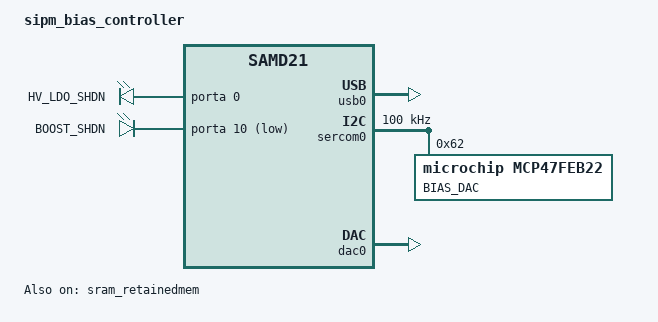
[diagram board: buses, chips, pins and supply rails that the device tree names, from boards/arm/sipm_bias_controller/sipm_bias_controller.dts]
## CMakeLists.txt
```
# SPDX-License-Identifier: Apache-2.0
# SiPM Bias Controller firmware (Zephyr)
# Board: sipm_bias_controller (ATSAMD21E18A-AF)

cmake_minimum_required(VERSION 3.20.0)

list(APPEND BOARD_ROOT ${CMAKE_CURRENT_SOURCE_DIR})

find_package(Zephyr REQUIRED HINTS $ENV{ZEPHYR_BASE})
project(sipm_bias_controller)

target_sources(app PRIVATE
  src/main.c
  src/bias.c
  src/mcp47feb22.c
)

target_include_directories(app PRIVATE include)
```

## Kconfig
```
# SPDX-License-Identifier: Apache-2.0

mainmenu "SiPM Bias Controller"

choice
	prompt "LT836X boost converter variant"
	default BIAS_LT8361
	help
	  Selects feedback network constants and voltage range for the
	  on-board boost converter.

config BIAS_LT8361
	bool "LT8361 (100 V rated, R6=39k)"

config BIAS_LT8362
	bool "LT8362 (60 V rated, R6=52.3k)"

endchoice
```

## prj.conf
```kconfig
CONFIG_NEWLIB_LIBC=y
CONFIG_BUILD_OUTPUT_HEX=y

CONFIG_GPIO=y
CONFIG_I2C=y
CONFIG_DAC=y

CONFIG_LOG=y
CONFIG_LOG_PRINTK=n
CONFIG_LOG_CMDS=y
CONFIG_LOG_RUNTIME_FILTERING=y

CONFIG_SERIAL=y
CONFIG_CONSOLE=y
CONFIG_UART_CONSOLE=y
CONFIG_UART_LINE_CTRL=y

CONFIG_SHELL=y
CONFIG_SHELL_PROMPT_UART=""
CONFIG_REBOOT=y
CONFIG_USB_DEVICE_STACK=y
CONFIG_USB_CDC_ACM=y
CONFIG_USB_DEVICE_MANUFACTURER="Applikate"
CONFIG_USB_DEVICE_PRODUCT="SiPM Bias Controller"
CONFIG_USB_DEVICE_INITIALIZE_AT_BOOT=y
CONFIG_SHELL_BACKEND_SERIAL=y
CONFIG_SHELL_BACKEND_RTT=n

CONFIG_RTT_CONSOLE=n
CONFIG_USE_SEGGER_RTT=n

# Retention boot mode (reboot into DFU)
CONFIG_RETAINED_MEM=y
CONFIG_RETENTION=y
CONFIG_RETENTION_BOOT_MODE=y

# MCUboot app-side support
CONFIG_FLASH=y
CONFIG_FLASH_MAP=y
CONFIG_FLASH_PAGE_LAYOUT=y
CONFIG_IMG_MANAGER=y
CONFIG_MCUBOOT_IMG_MANAGER=y
CONFIG_STREAM_FLASH=y

# Persistent calibration storage
CONFIG_NVS=y
CONFIG_SETTINGS=y
CONFIG_SETTINGS_NVS=y

# Boost converter variant (override in board defconfig or via menuconfig)
CONFIG_BIAS_LT8361=y

# Larger main stack for shell command handlers
CONFIG_MAIN_STACK_SIZE=2048
```

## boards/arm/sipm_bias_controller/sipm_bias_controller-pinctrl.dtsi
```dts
/*
 * SPDX-License-Identifier: Apache-2.0
 * SiPM Bias Controller pinctrl: SERCOM0 I2C, USB.
 */

#include <dt-bindings/pinctrl/samd21-da1gXabcd-pinctrl.h>

&pinctrl {
	sercom0_i2c_default: sercom0_i2c_default {
		group1 {
			pinmux = <PA8C_SERCOM0_PAD0>,
				 <PA9C_SERCOM0_PAD1>;
		};
	};

	usb_dc_default: usb_dc_default {
		group1 {
			pinmux = <PA25G_USB_DP>,
				 <PA24G_USB_DM>;
		};
	};
};
```

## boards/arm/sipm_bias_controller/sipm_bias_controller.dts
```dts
/*
 * SPDX-License-Identifier: Apache-2.0
 * SiPM Bias Controller board (ATSAMD21E18A-AF).
 *
 * Pinout (verified against bias_generator_LT8362.kicad_sch):
 *   PA00 = LDO_SHDN (HV LDO shutdown, active-high disables)
 *   PA02 = Boost_Gain (DAC0 -> LT836X feedback)
 *   PA08 = SDA (SERCOM0 PAD0, to MCP47FEB22)
 *   PA09 = SCL (SERCOM0 PAD1, to MCP47FEB22)
 *   PA10 = ~SHDN (LT836X boost shutdown, active-low disables)
 *   PA24/PA25 = USB DM/DP
 */

/dts-v1/;
#include <atmel/samd21.dtsi>
#include <atmel/samx2xx18.dtsi>
#include "sipm_bias_controller-pinctrl.dtsi"

/ {
	model = "sipm_bias_controller";
	compatible = "applikate,sipm_bias_controller",
		     "atmel,samd21e18a", "atmel,samd21";

	chosen {
		zephyr,console = &cdc_acm_uart0;
		zephyr,shell-uart = &cdc_acm_uart0;
		zephyr,sram = &sram0;
		zephyr,flash = &flash0;
		zephyr,code-partition = &slot0_partition;
		zephyr,boot-mode = &boot_mode0;
	};

	/* Retained memory for boot mode flag (warm-reset persistent). */
	sram_retainedmem: sram@20007ff0 {
		compatible = "zephyr,memory-region", "mmio-sram";
		reg = <0x20007FF0 0x10>;
		zephyr,memory-region = "RetainedMem";
		status = "okay";

		retainedmem {
			compatible = "zephyr,retained-ram";
			status = "okay";
			#address-cells = <1>;
			#size-cells = <1>;

			boot_mode0: boot_mode@0 {
				compatible = "zephyr,retention";
				status = "okay";
				reg = <0x0 0x4>;
				prefix = [08 04];
				checksum = <1>;
			};
		};
	};

	/* High-voltage LDO shutdown line. Net: LDO_SHDN.
	 * Active-high *signal* disables the LDO; flag as ACTIVE_HIGH so
	 * gpio_pin_set_dt(.., 1) means "shut down".
	 */
	hv_ldo: hv_ldo {
		compatible = "gpio-leds";
		hv_ldo_shdn: hv_ldo_shdn {
			gpios = <&porta 0 GPIO_ACTIVE_HIGH>;
			label = "HV_LDO_SHDN";
		};
	};

	/* LT836X boost converter shutdown line. Net: ~SHDN.
	 * Active-low signal: drive HIGH to run, LOW to shut down.
	 * Flagged as ACTIVE_LOW so gpio_pin_set_dt(.., 1) means "enable boost".
	 */
	boost_en: boost_en {
		compatible = "gpio-leds";
		boost_shdn: boost_shdn {
			gpios = <&porta 10 GPIO_ACTIVE_LOW>;
			label = "BOOST_SHDN";
		};
	};
};

zephyr_udc0: &usb0 {
	status = "okay";
	pinctrl-0 = <&usb_dc_default>;
	pinctrl-names = "default";
};

&zephyr_udc0 {
	cdc_acm_uart0: cdc_acm_uart0 {
		compatible = "zephyr,cdc-acm-uart";
	};
};

&cpu0 {
	clock-frequency = <48000000>;
};

/* I2C0 on SERCOM0 (PA08 SDA, PA09 SCL) -> MCP47FEB22 DAC */
&sercom0 {
	status = "okay";
	compatible = "atmel,sam0-i2c";
	clock-frequency = <I2C_BITRATE_STANDARD>;
	#address-cells = <1>;
	#size-cells = <0>;
	pinctrl-0 = <&sercom0_i2c_default>;
	pinctrl-names = "default";

	/* MCP47FEB22 7-bit address. The Arduino code uses i2c_address=2
	 * which on the MCP47FEB22 selects the A2 variant -> 0x62.
	 * Verify against the actual part marking; common addresses are
	 * 0x60 (A0), 0x61 (A1), 0x62 (A2), 0x63 (A3).
	 */
	mcp47feb22: mcp47feb22@62 {
		compatible = "microchip,mcp47feb22";
		reg = <0x62>;
		status = "okay";
		label = "BIAS_DAC";
	};
};

/* On-chip DAC: drives Boost_Gain on PA02 (LT836X feedback). */
&dac0 {
	status = "okay";
};

/* Shrink main SRAM to exclude retained memory region */
&sram0 {
	reg = <0x20000000 0x7FF0>;
};

&flash0 {
	erase-block-size = <256>;

	partitions {
		compatible = "fixed-partitions";
		#address-cells = <1>;
		#size-cells = <1>;

		/* MCUboot bootloader: 48 KiB at 0x00000 */
		boot_partition: partition@0 {
			label = "mcuboot";
			reg = <0x00000000 DT_SIZE_K(48)>;
			read-only;
		};

		/* Application image (slot 0): 100 KiB at 0x0C000 */
		slot0_partition: partition@c000 {
			label = "image-0";
			reg = <0x0000C000 DT_SIZE_K(100)>;
		};

		/* DFU staging image (slot 1): 100 KiB at 0x25000 */
		slot1_partition: partition@25000 {
			label = "image-1";
			reg = <0x00025000 DT_SIZE_K(100)>;
		};

		/* NVS for calibration (offset, g42, g50): 8 KiB at 0x3E000 */
		storage_partition: partition@3e000 {
			label = "storage";
			reg = <0x0003E000 DT_SIZE_K(8)>;
		};
	};
};
```

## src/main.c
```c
/*
 * SPDX-License-Identifier: Apache-2.0
 *
 * SiPM Bias Controller firmware (Zephyr).
 *
 * Ported from firmware/LT836X/bias_with_offset_LT836X/bias_with_offset_LT836X.ino.
 * Same command set, served over the USB CDC-ACM shell.
 */

#include <zephyr/kernel.h>
#include <zephyr/device.h>
#include <zephyr/shell/shell.h>
#include <zephyr/sys/printk.h>
#include <zephyr/sys/reboot.h>
#include <zephyr/retention/bootmode.h>
#include <stdlib.h>
#include <stdio.h>

#include "bias.h"

#define VERSION "0.0.1"
static const char INFO[] = "SiPM Bias Controller v" VERSION " (Zephyr)";

/* --- on / off --- */

static int cmd_on(const struct shell *sh, size_t argc, char **argv)
{
	ARG_UNUSED(argc); ARG_UNUSED(argv);
	bias_set_on(true);
	shell_print(sh, "on");
	return 0;
}

static int cmd_off(const struct shell *sh, size_t argc, char **argv)
{
	ARG_UNUSED(argc); ARG_UNUSED(argv);
	bias_set_on(false);
	shell_print(sh, "off");
	return 0;
}

static int cmd_status(const struct shell *sh, size_t argc, char **argv)
{
	uint16_t g42, g50;
	bias_get_calibration(&g42, &g50);
	ARG_UNUSED(argc); ARG_UNUSED(argv);

	shell_print(sh, "%s", INFO);
#if defined(CONFIG_BIAS_LT8361)
	shell_print(sh, "Configured for: LT8361");
#else
	shell_print(sh, "Configured for: LT8362");
#endif
	shell_print(sh, "On: %s", bias_is_on() ? "true" : "false");
	shell_print(sh, "Gain: %u dn (%u mV)",
		    bias_get_gain(), bias_gain_to_mv(bias_get_gain()));
	shell_print(sh, "Offset: %u dn", bias_get_offset());
	shell_print(sh, "Boost DAC: %u dn (%.2f V)",
		    bias_get_boost_dn(),
		    (double)bias_boost_dn_to_v(bias_get_boost_dn()));
	shell_print(sh, "Calibration: 42V=%u, 50V=%u", g42, g50);
	return 0;
}

/* --- gain DN --- */

static int cmd_gain(const struct shell *sh, size_t argc, char **argv)
{
	if (argc < 2) {
		shell_print(sh, "%u dn (%u mV)",
			    bias_get_gain(), bias_gain_to_mv(bias_get_gain()));
		return 0;
	}
	long v = strtol(argv[1], NULL, 10);
	if (v < 0 || v > 4095) {
		shell_error(sh, "gain out of range [0, 4095]");
		return -EINVAL;
	}
	bias_set_gain((uint16_t)v);
	shell_print(sh, "%ld dn (%u mV)", v, bias_gain_to_mv(v));
	return 0;
}

/* --- offset DN --- */

static int cmd_offset(const struct shell *sh, size_t argc, char **argv)
{
	if (argc < 2) {
		shell_print(sh, "%u", bias_get_offset());
		return 0;
	}
	long v = strtol(argv[1], NULL, 10);
	if (v < 0 || v > 4095) {
		shell_error(sh, "offset out of range [0, 4095]");
		return -EINVAL;
	}
	bias_set_offset((uint16_t)v);
	shell_print(sh, "%ld", v);
	return 0;
}

/* --- voltage (volts) --- */

static int cmd_voltage(const struct shell *sh, size_t argc, char **argv)
{
	if (argc < 2) {
		shell_print(sh, "%u mV", bias_gain_to_mv(bias_get_gain()));
		return 0;
	}
	long mv = strtol(argv[1], NULL, 10) * 1000;
	uint16_t g = bias_mv_to_gain(mv);
	bias_set_gain(g);
	shell_print(sh, "%u mV (gain=%u)", bias_gain_to_mv(g), g);
	return 0;
}

static int cmd_millivolts(const struct shell *sh, size_t argc, char **argv)
{
	if (argc < 2) {
		shell_print(sh, "%u mV", bias_gain_to_mv(bias_get_gain()));
		return 0;
	}
	long mv = strtol(argv[1], NULL, 10);
	uint16_t g = bias_mv_to_gain(mv);
	bias_set_gain(g);
	shell_print(sh, "%u mV (gain=%u)", bias_gain_to_mv(g), g);
	return 0;
}

/* --- LT836X boost DAC --- */

static int cmd_boost(const struct shell *sh, size_t argc, char **argv)
{
	if (argc < 2) {
		shell_print(sh, "%u dn (%.2f V)", bias_get_boost_dn(),
			    (double)bias_boost_dn_to_v(bias_get_boost_dn()));
		return 0;
	}
	long v = strtol(argv[1], NULL, 10);
	if (v < 0 || v > 1023) {
		shell_error(sh, "boost dn out of range [0, 1023]");
		return -EINVAL;
	}
	bias_set_boost_dn((uint16_t)v);
	shell_print(sh, "set boost DAC to %ld dn (%.2f V)", v,
		    (double)bias_boost_dn_to_v(v));
	return 0;
}

static int cmd_boost_voltage(const struct shell *sh, size_t argc, char **argv)
{
	if (argc < 2) {
		shell_print(sh, "%.2f V",
			    (double)bias_boost_dn_to_v(bias_get_boost_dn()));
		return 0;
	}
	long v = strtol(argv[1], NULL, 10);
	if (v < 6 || v > 65) {
		shell_error(sh, "boost voltage out of range [6, 65] V");
		return -EINVAL;
	}
	uint16_t dn = bias_v_to_boost_dn((float)v);
	bias_set_boost_dn(dn);
	shell_print(sh, "set boost to %u dn (%ld V)", dn, v);
	return 0;
}

/* --- calibration: two-shot to avoid shell-blocking reads --- */

static int cmd_calibration(const struct shell *sh, size_t argc, char **argv)
{
	uint16_t g42, g50;
	bias_get_calibration(&g42, &g50);

	if (argc < 2) {
		shell_print(sh, "Calibrated: 42V=%u dn, 50V=%u dn", g42, g50);
		shell_print(sh, "Usage:");
		shell_print(sh, "  calibration first  <measured_V>"
				" (run after gain DN = current g42)");
		shell_print(sh, "  calibration second <measured_V>"
				" (run after gain DN = current g50)");
		return 0;
	}

	bool first = (strcmp(argv[1], "first") == 0);
	bool second = (strcmp(argv[1], "second") == 0);
	if (!first && !second) {
		shell_error(sh, "Usage: calibration {first|second} <V>");
		return -EINVAL;
	}
	if (argc < 3) {
		shell_error(sh, "Missing measured voltage");
		return -EINVAL;
	}

	float measured = strtof(argv[2], NULL);
	if (first) {
		bias_set_gain(g42);
		bias_set_on(true);
		/* Stash measured voltage as new g42 anchor:
		 * we re-fit (slope, intercept) once both anchors are set.
		 * For the draft, simply nudge g42/g50 by the same ratio.
		 */
		float slope = (50.0f - measured) / (float)(g50 - g42);
		float intercept = measured - g42 * slope;
		uint16_t new_g42 = (uint16_t)((42.0f - intercept) / slope);
		bias_set_calibration(new_g42, g50);
		shell_print(sh, "first anchor: %.2f V at g42=%u -> g42:=%u",
			    (double)measured, g42, new_g42);
	} else {
		bias_set_gain(g50);
		bias_set_on(true);
		float slope = (measured - 42.0f) / (float)(g50 - g42);
		float intercept = measured - g50 * slope;
		uint16_t new_g50 = (uint16_t)((50.0f - intercept) / slope);
		bias_set_calibration(g42, new_g50);
		shell_print(sh, "second anchor: %.2f V at g50=%u -> g50:=%u",
			    (double)measured, g50, new_g50);
	}
	return 0;
}

/* --- ROM --- */

static int cmd_write_rom(const struct shell *sh, size_t argc, char **argv)
{
	ARG_UNUSED(argc); ARG_UNUSED(argv);
	int rc = bias_save();
	if (rc) {
		shell_error(sh, "save failed: %d", rc);
		return rc;
	}
	shell_print(sh, "OK");
	return 0;
}

static int cmd_read_rom(const struct shell *sh, size_t argc, char **argv)
{
	ARG_UNUSED(argc); ARG_UNUSED(argv);
	int rc = bias_load();
	if (rc) {
		shell_error(sh, "load failed: %d", rc);
		return rc;
	}
	shell_print(sh, "OK");
	return 0;
}

/* --- DFU --- */

static int cmd_dfu(const struct shell *sh, size_t argc, char **argv)
{
	ARG_UNUSED(argc); ARG_UNUSED(argv);
	shell_print(sh, "Rebooting into DFU mode...");
	int rc = bootmode_set(BOOT_MODE_TYPE_BOOTLOADER);
	if (rc) {
		shell_error(sh, "boot mode set failed: %d", rc);
		return rc;
	}
	sys_reboot(SYS_REBOOT_WARM);
	return 0;
}

SHELL_CMD_REGISTER(on,             NULL, "Enable boost + HV LDO",         cmd_on);
SHELL_CMD_REGISTER(off,            NULL, "Disable boost + HV LDO",        cmd_off);
SHELL_CMD_REGISTER(status,         NULL, "Print device status",           cmd_status);
SHELL_CMD_REGISTER(gain,           NULL, "Get/set gain DN [0..4095]",     cmd_gain);
SHELL_CMD_REGISTER(offset,         NULL, "Get/set offset DN [0..4095]",   cmd_offset);
SHELL_CMD_REGISTER(voltage,        NULL, "Get/set bias voltage in V",     cmd_voltage);
SHELL_CMD_REGISTER(millivolts,     NULL, "Get/set bias voltage in mV",    cmd_millivolts);
SHELL_CMD_REGISTER(boost,          NULL, "Get/set LT836X DAC DN [0..1023]", cmd_boost);
SHELL_CMD_REGISTER(boost_voltage,  NULL, "Get/set LT836X V [6..65]",      cmd_boost_voltage);
SHELL_CMD_REGISTER(calibration,    NULL, "calibration [first|second] <V>", cmd_calibration);
SHELL_CMD_REGISTER(write_rom,      NULL, "Save calibration to NVS",       cmd_write_rom);
SHELL_CMD_REGISTER(read_rom,       NULL, "Load calibration from NVS",     cmd_read_rom);
SHELL_CMD_REGISTER(dfu,            NULL, "Reboot into MCUboot recovery",  cmd_dfu);

int main(void)
{
	printk("%s\n", INFO);

	int rc = bias_init();
	if (rc) {
		printk("bias_init failed: %d\n", rc);
	} else {
		printk("Bias ready (off by default; use `on` to enable)\n");
	}

	while (1) {
		k_msleep(1000);
	}
}
```

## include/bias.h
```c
/*
 * SPDX-License-Identifier: Apache-2.0
 *
 * SiPM bias control core. Owns the gain/offset DAC state, the LT836X
 * boost-converter DAC setpoint, calibration coefficients, and the
 * boost/LDO enable lines. The shell commands in main.c are thin
 * wrappers over this API.
 */

#ifndef BIAS_H_
#define BIAS_H_

#include <stdbool.h>
#include <stdint.h>

/* Initialize DAC, MCP47FEB22, GPIOs, load calibration from NVS. */
int bias_init(void);

/* Boost converter + HV LDO enable. */
int bias_set_on(bool on);
bool bias_is_on(void);

/* Bias DAC channels (raw DN). gain ranges 0..4095; offset 0..2047. */
int bias_set_gain(uint16_t gain);
int bias_set_offset(uint16_t offset);
uint16_t bias_get_gain(void);
uint16_t bias_get_offset(void);

/* LT836X feedback DAC. dn=0..1023, lower dn -> higher boost voltage. */
int bias_set_boost_dn(uint16_t dn);
uint16_t bias_get_boost_dn(void);

/* Voltage helpers (linear interpolation between g42 and g50). */
uint32_t bias_gain_to_mv(uint16_t gain);
uint16_t bias_mv_to_gain(uint32_t mv);
float bias_boost_dn_to_v(uint16_t dn);
uint16_t bias_v_to_boost_dn(float v);

/* Calibration: stores the gain DN measured at 42 V and 50 V. */
int bias_set_calibration(uint16_t g42, uint16_t g50);
void bias_get_calibration(uint16_t *g42, uint16_t *g50);

/* Persist / recall to NVS. */
int bias_save(void);
int bias_load(void);

#endif /* BIAS_H_ */
```

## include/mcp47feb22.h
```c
/*
 * SPDX-License-Identifier: Apache-2.0
 *
 * Minimal Microchip MCP47FEB22 12-bit dual nonvolatile DAC driver.
 * Used for the SiPM bias gain (channel 0) and TIA offset (channel 1).
 *
 * Datasheet: Microchip MCP47FEBxxA (DS20005374).
 */

#ifndef MCP47FEB22_H_
#define MCP47FEB22_H_

#include <stdint.h>

/* Initialize: probes the device, sets both channels to use the internal
 * 1.214 V band-gap reference (Vref = "internal"), gain = 1x.
 * Matches the Arduino sketch's setVref(1,1) + setGain(0,0).
 * Returns 0 on success, negative errno on failure.
 */
int mcp47feb22_init(void);

/* Write both DAC channels in one transaction equivalent (back-to-back
 * writes; the MCP47FEB22 has no atomic dual-update).
 *   dac0: 0..4095 (bias gain DN)
 *   dac1: 0..4095 (offset DN; firmware uses only 0..2047)
 */
int mcp47feb22_write(uint16_t dac0, uint16_t dac1);

#endif /* MCP47FEB22_H_ */
```

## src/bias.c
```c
/*
 * SPDX-License-Identifier: Apache-2.0
 *
 * SiPM bias control core. Translates between user-facing units
 * (millivolts) and the underlying DAC DNs, drives the MCP47FEB22 for
 * gain/offset, drives the on-chip DAC on PA02 for the LT836X feedback,
 * and manages the boost/LDO enable lines.
 *
 * Voltage model is identical to the Arduino sketch
 * (firmware/LT836X/bias_with_offset_LT836X/bias_with_offset_LT836X.ino):
 *
 *   LT8361:  Vout(mV) = 1600 + ((1600/39000 + 1600/69800)
 *                              - dn*(3300/1024)/69800) * 1e6
 *   LT8362:  Vout(mV) = 1600 + ((1600/52300 + 1600/69800)
 *                              - dn*(3300/1024)/69800) * 1e6
 */

#include <zephyr/device.h>
#include <zephyr/devicetree.h>
#include <zephyr/drivers/dac.h>
#include <zephyr/drivers/gpio.h>
#include <zephyr/logging/log.h>
#include <zephyr/settings/settings.h>
#include <stdlib.h>
#include "bias.h"
#include "mcp47feb22.h"

LOG_MODULE_REGISTER(bias, LOG_LEVEL_INF);

#define BOOST_DAC_CHANNEL 0
#define BOOST_DAC_RESOLUTION 10  /* 10-bit, matches analogWriteResolution(10) */

static const struct device *boost_dac = DEVICE_DT_GET(DT_NODELABEL(dac0));
static const struct gpio_dt_spec hv_ldo_shdn =
	GPIO_DT_SPEC_GET(DT_NODELABEL(hv_ldo_shdn), gpios);
static const struct gpio_dt_spec boost_shdn =
	GPIO_DT_SPEC_GET(DT_NODELABEL(boost_shdn), gpios);

/* Defaults match the Arduino sketch's per-variant block. */
#if defined(CONFIG_BIAS_LT8361)
static uint16_t s_gain   = 3500;
static uint16_t s_g42    = 2538;
static uint16_t s_g50    = 3063;
static uint16_t s_offset = 220;
static uint16_t s_boost_dn = 130;  /* ~59.8 V on LT8361 */
#define BIAS_FB_R 39000
#define BIAS_OFFSET_INTERCEPT_UV 65548000
#elif defined(CONFIG_BIAS_LT8362)
static uint16_t s_gain   = 3500;
static uint16_t s_g42    = 3215;
static uint16_t s_g50    = 3870;
static uint16_t s_offset = 220;
static uint16_t s_boost_dn = 67;   /* ~52.3 V on LT8362 */
#define BIAS_FB_R 52300
#define BIAS_OFFSET_INTERCEPT_UV 55120000
#else
#error "Select a boost converter variant: CONFIG_BIAS_LT8361 or CONFIG_BIAS_LT8362"
#endif

static bool s_on = false;

/* --- voltage <-> DN helpers (linear interp on the gain DAC) --- */

uint32_t bias_gain_to_mv(uint16_t gain)
{
	return (((int32_t)gain - s_g42) * 8000
		+ 42000 * ((int32_t)s_g50 - s_g42))
		/ (s_g50 - s_g42);
}

uint16_t bias_mv_to_gain(uint32_t mv)
{
	return (((int32_t)s_g50 - s_g42) * ((int32_t)mv - 42000)
		+ s_g42 * 8000) / 8000;
}

float bias_boost_dn_to_v(uint16_t dn)
{
	float t = (1600.0f / (float)BIAS_FB_R + 1600.0f / 69800.0f)
		  - dn * (3300.0f / 1024.0f) / 69800.0f;
	return (1600.0f + t * 1000000.0f) / 1000.0f;
}

uint16_t bias_v_to_boost_dn(float v)
{
	float dn = (v * 1e6f - (float)BIAS_OFFSET_INTERCEPT_UV) / -46170.0f;
	if (dn < 0)    return 0;
	if (dn > 1023) return 1023;
	return (uint16_t)(dn + 0.5f);
}

/* --- DAC + GPIO --- */

static int push_bias_dac(void)
{
	/* MCP47FEB22 channel mapping matches Arduino sketch:
	 *   mcp.analogWrite(4095 - gain, offset);
	 * i.e. channel 0 carries (4095 - gain); channel 1 carries offset.
	 */
	return mcp47feb22_write((4095 - s_gain) & 0x0FFF, s_offset & 0x0FFF);
}

static int push_boost_dac(void)
{
	struct dac_channel_cfg cfg = {
		.channel_id = BOOST_DAC_CHANNEL,
		.resolution = BOOST_DAC_RESOLUTION,
		.buffered = false,
	};
	int rc = dac_channel_setup(boost_dac, &cfg);
	if (rc) {
		LOG_ERR("DAC setup failed: %d", rc);
		return rc;
	}
	return dac_write_value(boost_dac, BOOST_DAC_CHANNEL, s_boost_dn);
}

int bias_set_on(bool on)
{
	s_on = on;
	gpio_pin_set_dt(&boost_shdn, on ? 1 : 0);   /* active-low at silicon */
	gpio_pin_set_dt(&hv_ldo_shdn, on ? 0 : 1);  /* active-high disables */
	return 0;
}

bool bias_is_on(void) { return s_on; }

int bias_set_gain(uint16_t gain)
{
	if (gain > 4095) return -EINVAL;
	s_gain = gain;
	return push_bias_dac();
}

int bias_set_offset(uint16_t offset)
{
	if (offset > 4095) return -EINVAL;
	s_offset = offset;
	return push_bias_dac();
}

uint16_t bias_get_gain(void)   { return s_gain; }
uint16_t bias_get_offset(void) { return s_offset; }

int bias_set_boost_dn(uint16_t dn)
{
	if (dn > 1023) return -EINVAL;
	s_boost_dn = dn;
	return push_boost_dac();
}

uint16_t bias_get_boost_dn(void) { return s_boost_dn; }

int bias_set_calibration(uint16_t g42, uint16_t g50)
{
	if (g42 == g50) return -EINVAL;
	s_g42 = g42;
	s_g50 = g50;
	return 0;
}

void bias_get_calibration(uint16_t *g42, uint16_t *g50)
{
	if (g42) *g42 = s_g42;
	if (g50) *g50 = s_g50;
}

/* --- NVS persistence via settings subsystem --- */

#define CAL_KEY "bias/cal"

struct cal_blob {
	uint16_t offset;
	uint16_t g42;
	uint16_t g50;
};

static int cal_set_handler(const char *key, size_t len,
			   settings_read_cb read_cb, void *cb_arg)
{
	struct cal_blob blob;

	ARG_UNUSED(key);
	if (len != sizeof(blob)) return -EINVAL;

	int rc = read_cb(cb_arg, &blob, sizeof(blob));
	if (rc < 0) return rc;

	if (blob.offset <= 2000) s_offset = blob.offset;
	if (blob.g42 >= 20 && blob.g42 <= 4000) s_g42 = blob.g42;
	if (blob.g50 >= 20 && blob.g50 <= 4000) s_g50 = blob.g50;
	LOG_INF("Loaded cal: offset=%u g42=%u g50=%u", s_offset, s_g42, s_g50);
	return 0;
}

SETTINGS_STATIC_HANDLER_DEFINE(bias_cal, "bias", NULL, cal_set_handler,
			       NULL, NULL);

int bias_save(void)
{
	struct cal_blob blob = { .offset = s_offset, .g42 = s_g42, .g50 = s_g50 };
	return settings_save_one(CAL_KEY, &blob, sizeof(blob));
}

int bias_load(void)
{
	return settings_load_subtree("bias");
}

/* --- init --- */

int bias_init(void)
{
	int rc;

	if (!gpio_is_ready_dt(&hv_ldo_shdn) || !gpio_is_ready_dt(&boost_shdn)) {
		LOG_ERR("GPIOs not ready");
		return -ENODEV;
	}

	/* Default: shut down both rails until app raises bias_set_on. */
	gpio_pin_configure_dt(&hv_ldo_shdn, GPIO_OUTPUT_ACTIVE);   /* shut */
	gpio_pin_configure_dt(&boost_shdn, GPIO_OUTPUT_INACTIVE);  /* shut */

	if (!device_is_ready(boost_dac)) {
		LOG_ERR("DAC not ready");
		return -ENODEV;
	}

	rc = mcp47feb22_init();
	if (rc) {
		LOG_WRN("MCP47FEB22 init failed: %d (continuing)", rc);
	}

	rc = settings_subsys_init();
	if (rc) {
		LOG_WRN("settings init: %d", rc);
	} else {
		bias_load();
	}

	push_bias_dac();
	push_boost_dac();
	return 0;
}
```

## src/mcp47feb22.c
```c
/*
 * SPDX-License-Identifier: Apache-2.0
 *
 * Minimal MCP47FEB22 driver. Implemented as plain I2C transactions in app
 * space rather than a Zephyr device class because (a) only this app talks
 * to it and (b) there is no in-tree binding.
 *
 * Command byte format (MCP47FEB22 datasheet section 7.2):
 *   bit 7..3 = register address
 *   bit 2..1 = command (00=write, 01=read, 10=enable-config, 11=disable)
 *   bit 0    = reserved (0)
 *
 * Data word is 16 bits big-endian. For 12-bit DAC registers, the value
 * sits in bits 11..0 (the part right-justifies internally).
 *
 * Volatile register addresses used here:
 *   0x00 DAC0 output
 *   0x01 DAC1 output
 *   0x08 Vref select
 *   0x0A Gain/Status
 */

#include <zephyr/device.h>
#include <zephyr/drivers/i2c.h>
#include <zephyr/logging/log.h>
#include "mcp47feb22.h"

LOG_MODULE_REGISTER(mcp47feb22, LOG_LEVEL_INF);

/* DT node label set in board DTS. */
#define MCP_NODE DT_NODELABEL(mcp47feb22)

static const struct i2c_dt_spec dac_i2c = I2C_DT_SPEC_GET(MCP_NODE);

#define MCP_REG_DAC0      0x00
#define MCP_REG_DAC1      0x01
#define MCP_REG_VREF      0x08
#define MCP_REG_GAINSTAT  0x0A

#define MCP_CMD_WRITE     0x00 /* bits 2..1 */

/* Vref source per channel (2 bits each):
 *   0b00 = Vdd, 0b01 = floating, 0b10 = band-gap, 0b11 = band-gap buffered
 * Arduino setVref(1,1) -> we want the buffered band-gap on both channels.
 */
#define MCP_VREF_BOTH_INTERNAL  ((0x3 << 0) | (0x3 << 2))

/* Gain: 0 = 1x, 1 = 2x (per channel). Arduino setGain(0,0) -> 0. */
#define MCP_GAIN_BOTH_1X        0x00

static int mcp_write_reg(uint8_t reg, uint16_t value)
{
	uint8_t buf[3];

	buf[0] = (uint8_t)((reg << 3) | (MCP_CMD_WRITE << 1));
	buf[1] = (uint8_t)(value >> 8);
	buf[2] = (uint8_t)(value & 0xFF);

	return i2c_write_dt(&dac_i2c, buf, sizeof(buf));
}

int mcp47feb22_init(void)
{
	int rc;

	if (!device_is_ready(dac_i2c.bus)) {
		LOG_ERR("I2C bus %s not ready", dac_i2c.bus->name);
		return -ENODEV;
	}

	rc = mcp_write_reg(MCP_REG_VREF, MCP_VREF_BOTH_INTERNAL);
	if (rc) {
		LOG_ERR("VREF write failed: %d", rc);
		return rc;
	}

	rc = mcp_write_reg(MCP_REG_GAINSTAT, MCP_GAIN_BOTH_1X);
	if (rc) {
		LOG_ERR("GAIN write failed: %d", rc);
		return rc;
	}

	LOG_INF("MCP47FEB22 at 0x%02x ready", dac_i2c.addr);
	return 0;
}

int mcp47feb22_write(uint16_t dac0, uint16_t dac1)
{
	int rc;

	rc = mcp_write_reg(MCP_REG_DAC0, dac0 & 0x0FFF);
	if (rc) {
		return rc;
	}
	return mcp_write_reg(MCP_REG_DAC1, dac1 & 0x0FFF);
}
```
